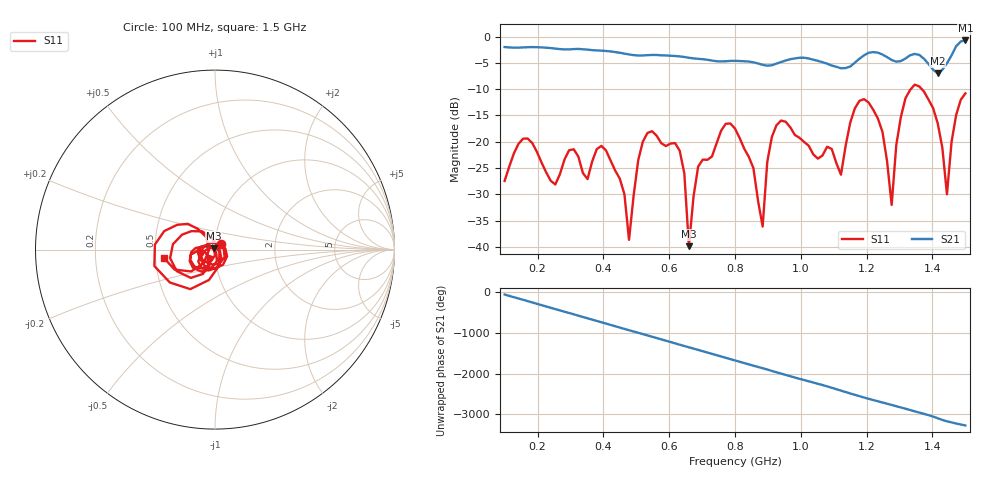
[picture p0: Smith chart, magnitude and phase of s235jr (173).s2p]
! NanoVNA-App
! Date: 2025-09-25 15:05:30
! Start: 100MHz Stop: 1,5GHz Points: 101
! S-Parameter data: F S11 S21 S12 S22
# Hz S RI R 50
!  Frequency  S11_Real  S11_Imag  S21_Real  S21_Imag  S12_Real  S12_Imag  S22_Real  S22_Imag
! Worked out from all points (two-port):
!   101 points, 100 MHz to 1.5 GHz, reference 50 ohm
!   highest |S21| = -0.71 dB at 1.5 GHz (marker M1); lowest = -7.0 dB at 1.416 GHz (marker M2)
!   |S21| within 3 dB of the highest: start of sweep to 625.3 MHz; 1.188 GHz to 1.257 GHz (68.78 MHz wide, 5.62 % of centre) (the widest 2 of 4)
!   lowest |S11| = -39.9 dB at 660 MHz (marker M3), VSWR 1.02, Z = 49.2 + j0.641 ohm
!   |S11| at or under -10 dB: start of sweep to 1.334 GHz; 1.368 GHz to end of sweep
!   S12 and S22 are empty: the file has one direction only
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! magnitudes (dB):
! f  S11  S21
! 100 MHz  -27.5  -2.0
! 156 MHz  -19.4  -2.0
! 338 MHz  -26.0  -2.4
! 408 MHz  -21.6  -2.7
! 478 MHz  -38.7  -3.4
! 520 MHz  -20.0  -3.6
! 576 MHz  -20.3  -3.5
! 632 MHz  -21.7  -3.7
! 660 MHz  -39.9  -4.0
! 688 MHz  -24.7  -4.2
! 800 MHz  -17.5  -4.6
! 884 MHz  -36.1  -5.4
! 926 MHz  -16.9  -5.1
! 1.038 GHz  -22.4  -4.4
! 1.122 GHz  -26.3  -6.0
! 1.192 GHz  -11.9  -3.5
! 1.248 GHz  -18.1  -3.4
! 1.276 GHz  -32.0  -4.4
! 1.332 GHz  -10.1  -3.5
! 1.416 GHz  -16.5  -7.0
! 1.444 GHz  -30.0  -5.1
! 1.5 GHz  -10.8  -0.7
